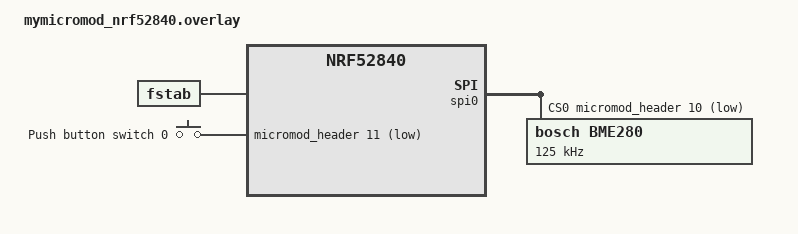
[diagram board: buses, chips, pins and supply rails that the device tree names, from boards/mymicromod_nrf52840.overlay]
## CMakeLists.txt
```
#-------------------------------------------------------------------------------
# Zephyr Example Application
#
# Copyright (c) 2021 Nordic Semiconductor ASA
# SPDX-License-Identifier: Apache-2.0

cmake_minimum_required(VERSION 3.13.1)
find_package(Zephyr REQUIRED HINTS $ENV{ZEPHYR_BASE})

project(app LANGUAGES C)

target_sources(app PRIVATE src/main.c)
target_sources(app PRIVATE src/measurement.c)
target_sources_ifdef(CONFIG_BT app PRIVATE src/dev_bt.c)
target_sources_ifdef(CONFIG_BT app PRIVATE src/dev_bt_service.c)
```

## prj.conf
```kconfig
# Copyright (c) 2021 Nordic Semiconductor ASA
# SPDX-License-Identifier: Apache-2.0
#
# This file contains selected Kconfig options for the application.
CONFIG_MAIN_STACK_SIZE=4096
CONFIG_SYSTEM_WORKQUEUE_STACK_SIZE=2048
CONFIG_BT_RX_STACK_SIZE=2048

CONFIG_SENSOR=y

#floating point logging
CONFIG_CBPRINTF_FP_SUPPORT=y

# enable BT
CONFIG_BT=y
CONFIG_BT_PERIPHERAL=y
CONFIG_BT_DEVICE_NAME="Env_Sensor"
CONFIG_BT_GATT_CLIENT=y
# Connection Parameter and Negotiations
CONFIG_BT_PERIPHERAL_PREF_MIN_INT=800
CONFIG_BT_PERIPHERAL_PREF_MAX_INT=800
CONFIG_BT_PERIPHERAL_PREF_LATENCY=0
CONFIG_BT_PERIPHERAL_PREF_TIMEOUT=400
CONFIG_BT_GAP_AUTO_UPDATE_CONN_PARAMS=y
#PHY CHannel
CONFIG_BT_USER_PHY_UPDATE=y
# Data Lenght and MTU
CONFIG_BT_USER_DATA_LEN_UPDATE=y
CONFIG_BT_CTLR_DATA_LENGTH_MAX=251
CONFIG_BT_BUF_ACL_RX_SIZE=251
CONFIG_BT_BUF_ACL_TX_SIZE=251
CONFIG_BT_L2CAP_TX_MTU=247
```

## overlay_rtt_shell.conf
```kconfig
# Enable SEGGER's Real Time Transfer (RTT)
CONFIG_USE_SEGGER_RTT=y

# Shell and Console
CONFIG_CONSOLE=y
CONFIG_RTT_CONSOLE=y
CONFIG_UART_CONSOLE=n
CONFIG_SHELL=y
CONFIG_SHELL_BACKEND_RTT=y
CONFIG_LOG_BACKEND_RTT=n
CONFIG_SHELL_TAB=y
CONFIG_SHELL_TAB_AUTOCOMPLETION=y

# System SHELLS
CONFIG_INIT_STACKS=y
CONFIG_THREAD_STACK_INFO=y
CONFIG_KERNEL_SHELL=y
CONFIG_THREAD_MONITOR=y
CONFIG_BOOT_BANNER=y
CONFIG_THREAD_NAME=y
CONFIG_DEVICE_SHELL=y
CONFIG_POSIX_CLOCK=y
CONFIG_DATE_SHELL=y
CONFIG_THREAD_RUNTIME_STATS=y
CONFIG_THREAD_RUNTIME_STATS_USE_TIMING_FUNCTIONS=y
CONFIG_STATS=y
CONFIG_STATS_SHELL=y

# logging
CONFIG_LOG=y
CONFIG_APP_LOG_LEVEL_DBG=y
CONFIG_CBPRINTF_FP_SUPPORT=y
```

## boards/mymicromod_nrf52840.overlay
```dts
#include <zephyr/dt-bindings/input/input-event-codes.h>

/ {
    fstab {
        compatible = "zephyr,fstab";
        lfs1: lfs1 {
            compatible = "zephyr,fstab,littlefs";
            mount-point = "/lfs1";
            partition = <&littlefs_partition>;
            automount;
            read-size = <16>;
            prog-size = <16>;
            cache-size = <64>;
            lookahead-size = <32>;
            block-cycles = <512>;
        };
    };

    // Use Boot button as a button
    buttons {
        compatible = "gpio-keys";
        button0: button_0 {
            gpios = <&micromod_header 11 GPIO_ACTIVE_LOW>;
            label = "Push button switch 0";
            zephyr,code = <INPUT_KEY_0>;
        };
    };

};


&w25q128jv {
    partitions {
        compatible = "fixed-partitions";
        #address-cells = <1>;
        #size-cells = <1>;

        littlefs_partition: partition@0 {
            label = "littlefs";
            reg = <0x00000000 DT_SIZE_M(16)>;
        };
    };
};

&spi0 {
    compatible = "nordic,nrf-spim";
    rx-delay-supported;
    rx-delay = <0x2>;
    status = "okay";
    cs-gpios = <&micromod_header 10 GPIO_ACTIVE_LOW>;

    bme280: bme280@0 {
        compatible = "bosch,bme280";
        reg = <0>;
        spi-max-frequency = <125000>;
    };
};
```

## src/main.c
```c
/*
 * Copyright (c) 2021 Nordic Semiconductor ASA
 * SPDX-License-Identifier: Apache-2.0
 */

#include <zephyr/kernel.h>
#include <zephyr/logging/log.h>

#include <app_version.h>
#include "measurement.h"
#include "dev_bt_service.h"

LOG_MODULE_REGISTER(main, CONFIG_APP_LOG_LEVEL);

extern int bt_space_init(void);

int main(void)
{
	printk("ESS App %s\n", APP_VERSION_STRING);

	bt_space_init(); // Initialize the Bluetooth

	sensor_data_t rcvd_sensor_data = {0};
	double pressure, temperature, humidity;

	while (1)
	{
		int ret = k_msgq_get(&sensor_message_queue, &rcvd_sensor_data, K_NO_WAIT);
		if (ret == 0)
		{

			temperature = sensor_value_to_double(&rcvd_sensor_data.temperature);
			pressure = sensor_value_to_double(&rcvd_sensor_data.pressure);
			humidity = sensor_value_to_double(&rcvd_sensor_data.humidity);

			LOG_INF("\t\t Sensor Data");
			LOG_INF("\tTemperature: \t %.2f C", temperature);
			LOG_INF("\tPressure:    \t %.2f kPa", pressure);
			LOG_INF("\tHumidity:    \t %.2f %%RH\n\n", humidity);

			// Notify Central
			ess_temp_notify((int16_t)(temperature * 100));	// 0.01C resolution
			ess_humd_notify((uint16_t)(humidity * 100));	// 0.01% RH resolution
			ess_press_notify((uint32_t)(pressure * 10000)); // 0.1Pa resolution, but already in kPa, so convert
		}

		k_sleep(K_MSEC(1000));
	}

	return 0;
}
```

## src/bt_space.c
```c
#include <zephyr/kernel.h>
#include <zephyr/logging/log.h>
#include <zephyr/bluetooth/bluetooth.h>
#include <zephyr/bluetooth/gap.h>
#include <zephyr/bluetooth/gatt.h>

LOG_MODULE_REGISTER(bt_space, CONFIG_APP_LOG_LEVEL);

#define DEVICE_NAME CONFIG_BT_DEVICE_NAME
#define DEVICE_NAME_LEN (sizeof(DEVICE_NAME) - 1)

/********************************Static Proto***********************************/
static void update_phy(struct bt_conn *conn);
static void update_data_length(struct bt_conn *conn);
static void exchange_func(struct bt_conn *conn, uint8_t att_err,
                          struct bt_gatt_exchange_params *params);
static void update_mtu(struct bt_conn *conn);
static void on_connected(struct bt_conn *conn, uint8_t err);
static void on_disconnected(struct bt_conn *conn, uint8_t reason);
static void on_le_param_updated(struct bt_conn *conn, uint16_t interval, uint16_t latency, uint16_t timeout);
static void on_le_phy_updated(struct bt_conn *conn, struct bt_conn_le_phy_info *param);
static void on_le_data_len_updated(struct bt_conn *conn, struct bt_conn_le_data_len_info *info);
/*******************************************************************/

bt_addr_le_t bt_dev_addr;
static struct bt_gatt_exchange_params exchange_params;
struct bt_conn *bt_dev_conn = NULL;

// Advertisment Data
static const struct bt_data ad[] = {
    BT_DATA_BYTES(BT_DATA_FLAGS, BT_LE_AD_GENERAL | BT_LE_AD_NO_BREDR),
    BT_DATA(BT_DATA_NAME_COMPLETE, DEVICE_NAME, DEVICE_NAME_LEN),
    BT_DATA_BYTES(BT_DATA_GAP_APPEARANCE, BT_APPEARANCE_SENSOR_TEMPERATURE & 0xff,
                  (BT_APPEARANCE_SENSOR_TEMPERATURE >> 8) & 0xff),
};

// Scan Request Response Data
static const struct bt_data sd[] = {
    BT_DATA_BYTES(BT_DATA_UUID16_ALL, BT_UUID_16_ENCODE(BT_UUID_ESS_VAL)), // Enivorment Sensing Service
};

// Advertisment Parameters
static const struct bt_le_adv_param *adv_param = BT_LE_ADV_PARAM(
    BT_LE_ADV_OPT_CONNECTABLE | BT_LE_ADV_OPT_USE_IDENTITY,
    BT_GAP_ADV_FAST_INT_MIN_1,
    BT_GAP_ADV_FAST_INT_MIN_1,
    NULL);

// Connection Handler
static struct bt_conn_cb dev_conn_callbacks = {
    .connected = on_connected,
    .disconnected = on_disconnected,
    .le_param_updated = on_le_param_updated,
    .le_phy_updated = on_le_phy_updated,
    .le_data_len_updated = on_le_data_len_updated,

};

int bt_space_init(void)
{
    int ret;

    ret = bt_addr_le_from_str("FF:EE:DD:CC:BB:AA", "random", &bt_dev_addr);
    if (ret)
    {
        LOG_ERR("Invalid BT address: %d", ret);
    }

    ret = bt_id_create(&bt_dev_addr, NULL);
    if (ret < 0)
    {
        LOG_ERR("Creating new ID failed: %d", ret);
    }

    ret = bt_conn_cb_register(&dev_conn_callbacks);
    if (ret)
    {
        LOG_ERR("Connection callback register failed: %d", ret);
    }

    // Enable BT Synchronously
    ret = bt_enable(NULL);
    if (ret)
    {
        LOG_ERR("Bluetooth Init Failed: %d", ret);
        return -1;
    }
    LOG_INF("Bluetooth Initialized\n");

    ret = bt_le_adv_start(adv_param, ad, ARRAY_SIZE(ad), sd, ARRAY_SIZE(sd));
    if (ret)
    {
        LOG_ERR("Advertising failed to start: %d\n", ret);
        return -1;
    }
    LOG_INF("Advertising successfully started");

    return ret;
}

static void update_phy(struct bt_conn *conn)
{
    int ret;
    const struct bt_conn_le_phy_param pref_phy = {
        .options = BT_CONN_LE_PHY_OPT_NONE,
        .pref_rx_phy = BT_GAP_LE_PHY_2M,
        .pref_tx_phy = BT_GAP_LE_PHY_2M,
    };

    ret = bt_conn_le_phy_update(conn, &pref_phy);
    if (ret)
    {
        LOG_ERR("Failed to change PHY: %d", ret);
    }
}

static void update_data_length(struct bt_conn *conn)
{
    int ret;
    struct bt_conn_le_data_len_param dev_data_len = {
        .tx_max_len = BT_GAP_DATA_LEN_MAX,
        .tx_max_time = BT_GAP_DATA_TIME_MAX,
    };
    ret = bt_conn_le_data_len_update(bt_dev_conn, &dev_data_len);
    if (ret)
    {
        LOG_ERR("data_len_update failed: %d", ret);
    }
}

static void exchange_func(struct bt_conn *conn, uint8_t att_err,
                          struct bt_gatt_exchange_params *params)
{
    LOG_INF("MTU exchange %s", att_err == 0 ? "successful" : "failed");
    if (!att_err)
    {
        uint16_t payload_mtu = bt_gatt_get_mtu(conn) - 3; // 3 bytes used for Attribute headers.
        LOG_INF("New MTU: %d bytes", payload_mtu);
    }
}

static void update_mtu(struct bt_conn *conn)
{
    int ret;
    exchange_params.func = exchange_func;

    ret = bt_gatt_exchange_mtu(conn, &exchange_params);
    if (ret)
    {
        LOG_ERR("bt_gatt_exchange_mtu failed: %d", ret);
    }
}

void on_le_param_updated(struct bt_conn *conn, uint16_t interval, uint16_t latency, uint16_t timeout)
{
    double connection_interval = interval * 1.25; // in ms
    uint16_t supervision_timeout = timeout * 10;  // in ms
    LOG_INF("Connection parameters updated: connection interval %.2f ms, latency %d intervals, timeout %d ms",
            connection_interval, latency, supervision_timeout);
}

void on_le_phy_updated(struct bt_conn *conn, struct bt_conn_le_phy_info *param)
{
    // PHY Updated
    if (param->tx_phy == BT_CONN_LE_TX_POWER_PHY_1M) {
        LOG_INF("PHY updated. New PHY: 1M");
    }
    else if (param->tx_phy == BT_CONN_LE_TX_POWER_PHY_2M) {
        LOG_INF("PHY updated. New PHY: 2M");
    }
    else if (param->tx_phy == BT_CONN_LE_TX_POWER_PHY_CODED_S8) {
        LOG_INF("PHY updated. New PHY: Long Range");
    }
}

void on_le_data_len_updated(struct bt_conn *conn, struct bt_conn_le_data_len_info *info)
{
    uint16_t tx_len     = info->tx_max_len; 
    uint16_t tx_time    = info->tx_max_time;
    uint16_t rx_len     = info->rx_max_len;
    uint16_t rx_time    = info->rx_max_time;
    LOG_INF("Data length updated. Length %d/%d bytes, time %d/%d us", tx_len, rx_len, tx_time, rx_time);
}

static void on_connected(struct bt_conn *conn, uint8_t err)
{
    if (err)
    {
        LOG_ERR("Connection error: %d", err);
        return;
    }
    LOG_INF("Connected");
    bt_dev_conn = bt_conn_ref(conn);

    // Get connection info
    struct bt_conn_info info;
    err = bt_conn_get_info(conn, &info);
    if (err)
    {
        LOG_ERR("Failed to get connx info: %d", err);
        return;
    }

    double connection_interval = info.le.interval * 1.25; // in ms
    uint16_t supervision_timeout = info.le.timeout * 10;  // in ms
    LOG_INF("Initial Connection parameters: interval %.2f ms, latency %d intervals, timeout %d ms",
            connection_interval, info.le.latency, supervision_timeout);
            
    update_phy(bt_dev_conn);
    update_data_length(bt_dev_conn);
    update_mtu(bt_dev_conn);
}

static void on_disconnected(struct bt_conn *conn, uint8_t reason)
{
    LOG_INF("Disconnected. Reason %d", reason);
    bt_conn_unref(bt_dev_conn);

}
```

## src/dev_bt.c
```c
#include <zephyr/kernel.h>
#include <zephyr/logging/log.h>
#include <zephyr/bluetooth/bluetooth.h>
#include <zephyr/bluetooth/gap.h>
#include <zephyr/bluetooth/gatt.h>

LOG_MODULE_REGISTER(dev_bt, CONFIG_APP_LOG_LEVEL);

#define DEVICE_NAME CONFIG_BT_DEVICE_NAME
#define DEVICE_NAME_LEN (sizeof(DEVICE_NAME) - 1)

/********************************Static Proto***********************************/
static void update_phy(struct bt_conn *conn);
static void update_data_length(struct bt_conn *conn);
static void exchange_func(struct bt_conn *conn, uint8_t att_err,
                          struct bt_gatt_exchange_params *params);
static void update_mtu(struct bt_conn *conn);
static void on_connected(struct bt_conn *conn, uint8_t err);
static void on_disconnected(struct bt_conn *conn, uint8_t reason);
static void on_le_param_updated(struct bt_conn *conn, uint16_t interval, uint16_t latency, uint16_t timeout);
static void on_le_phy_updated(struct bt_conn *conn, struct bt_conn_le_phy_info *param);
static void on_le_data_len_updated(struct bt_conn *conn, struct bt_conn_le_data_len_info *info);
/*******************************************************************/

bt_addr_le_t bt_dev_addr;
static struct bt_gatt_exchange_params exchange_params;
struct bt_conn *bt_dev_conn = NULL;

// Advertisment Data
static const struct bt_data ad[] = {
    BT_DATA_BYTES(BT_DATA_FLAGS, BT_LE_AD_GENERAL | BT_LE_AD_NO_BREDR),
    BT_DATA(BT_DATA_NAME_COMPLETE, DEVICE_NAME, DEVICE_NAME_LEN),
    BT_DATA_BYTES(BT_DATA_GAP_APPEARANCE, BT_APPEARANCE_SENSOR_TEMPERATURE & 0xff,
                  (BT_APPEARANCE_SENSOR_TEMPERATURE >> 8) & 0xff),
};

// Scan Request Response Data
static const struct bt_data sd[] = {
    BT_DATA_BYTES(BT_DATA_UUID16_ALL, BT_UUID_16_ENCODE(BT_UUID_ESS_VAL)), // Enivorment Sensing Service
};

// Advertisment Parameters
static const struct bt_le_adv_param *adv_param = BT_LE_ADV_PARAM(
    BT_LE_ADV_OPT_CONNECTABLE | BT_LE_ADV_OPT_USE_IDENTITY,
    BT_GAP_ADV_FAST_INT_MIN_1,
    BT_GAP_ADV_FAST_INT_MIN_1,
    NULL);

// Connection Handler
static struct bt_conn_cb dev_conn_callbacks = {
    .connected = on_connected,
    .disconnected = on_disconnected,
    .le_param_updated = on_le_param_updated,
    .le_phy_updated = on_le_phy_updated,
    .le_data_len_updated = on_le_data_len_updated,

};

int bt_space_init(void)
{
    int ret;

    ret = bt_addr_le_from_str("FF:EE:DD:CC:BB:AA", "random", &bt_dev_addr);
    if (ret)
    {
        LOG_ERR("Invalid BT address: %d", ret);
    }

    ret = bt_id_create(&bt_dev_addr, NULL);
    if (ret < 0)
    {
        LOG_ERR("Creating new ID failed: %d", ret);
    }

    ret = bt_conn_cb_register(&dev_conn_callbacks);
    if (ret)
    {
        LOG_ERR("Connection callback register failed: %d", ret);
    }

    // Enable BT Synchronously
    ret = bt_enable(NULL);
    if (ret)
    {
        LOG_ERR("Bluetooth Init Failed: %d", ret);
        return -1;
    }
    LOG_INF("Bluetooth Initialized\n");

    ret = bt_le_adv_start(adv_param, ad, ARRAY_SIZE(ad), sd, ARRAY_SIZE(sd));
    if (ret)
    {
        LOG_ERR("Advertising failed to start: %d\n", ret);
        return -1;
    }
    LOG_INF("Advertising successfully started");

    return ret;
}

static void update_phy(struct bt_conn *conn)
{
    int ret;
    const struct bt_conn_le_phy_param pref_phy = {
        .options = BT_CONN_LE_PHY_OPT_NONE,
        .pref_rx_phy = BT_GAP_LE_PHY_2M,
        .pref_tx_phy = BT_GAP_LE_PHY_2M,
    };

    ret = bt_conn_le_phy_update(conn, &pref_phy);
    if (ret)
    {
        LOG_ERR("Failed to change PHY: %d", ret);
    }
}

static void update_data_length(struct bt_conn *conn)
{
    int ret;
    struct bt_conn_le_data_len_param dev_data_len = {
        .tx_max_len = BT_GAP_DATA_LEN_MAX,
        .tx_max_time = BT_GAP_DATA_TIME_MAX,
    };
    ret = bt_conn_le_data_len_update(bt_dev_conn, &dev_data_len);
    if (ret)
    {
        LOG_ERR("data_len_update failed: %d", ret);
    }
}

static void exchange_func(struct bt_conn *conn, uint8_t att_err,
                          struct bt_gatt_exchange_params *params)
{
    LOG_INF("MTU exchange %s", att_err == 0 ? "successful" : "failed");
    if (!att_err)
    {
        uint16_t payload_mtu = bt_gatt_get_mtu(conn) - 3; // 3 bytes used for Attribute headers.
        LOG_INF("New MTU: %d bytes", payload_mtu);
    }
}

static void update_mtu(struct bt_conn *conn)
{
    int ret;
    exchange_params.func = exchange_func;

    ret = bt_gatt_exchange_mtu(conn, &exchange_params);
    if (ret)
    {
        LOG_ERR("bt_gatt_exchange_mtu failed: %d", ret);
    }
}

static void on_le_param_updated(struct bt_conn *conn, uint16_t interval, uint16_t latency, uint16_t timeout)
{
    double connection_interval = interval * 1.25; // in ms
    uint16_t supervision_timeout = timeout * 10;  // in ms
    LOG_INF("Connection parameters updated: connection interval %.2f ms, latency %d intervals, timeout %d ms",
            connection_interval, latency, supervision_timeout);
}

static void on_le_phy_updated(struct bt_conn *conn, struct bt_conn_le_phy_info *param)
{
    // PHY Updated
    if (param->tx_phy == BT_CONN_LE_TX_POWER_PHY_1M) {
        LOG_INF("PHY updated. New PHY: 1M");
    }
    else if (param->tx_phy == BT_CONN_LE_TX_POWER_PHY_2M) {
        LOG_INF("PHY updated. New PHY: 2M");
    }
    else if (param->tx_phy == BT_CONN_LE_TX_POWER_PHY_CODED_S8) {
        LOG_INF("PHY updated. New PHY: Long Range");
    }
}

static void on_le_data_len_updated(struct bt_conn *conn, struct bt_conn_le_data_len_info *info)
{
    uint16_t tx_len     = info->tx_max_len; 
    uint16_t tx_time    = info->tx_max_time;
    uint16_t rx_len     = info->rx_max_len;
    uint16_t rx_time    = info->rx_max_time;
    LOG_INF("Data length updated. Length %d/%d bytes, time %d/%d us", tx_len, rx_len, tx_time, rx_time);
}

static void on_connected(struct bt_conn *conn, uint8_t err)
{
    if (err)
    {
        LOG_ERR("Connection error: %d", err);
        return;
    }
    LOG_INF("Connected");
    bt_dev_conn = bt_conn_ref(conn);

    // Get connection info
    struct bt_conn_info info;
    err = bt_conn_get_info(conn, &info);
    if (err)
    {
        LOG_ERR("Failed to get connx info: %d", err);
        return;
    }

    double connection_interval = info.le.interval * 1.25; // in ms
    uint16_t supervision_timeout = info.le.timeout * 10;  // in ms
    LOG_INF("Initial Connection parameters: interval %.2f ms, latency %d intervals, timeout %d ms",
            connection_interval, info.le.latency, supervision_timeout);
            
    update_phy(bt_dev_conn);
    update_data_length(bt_dev_conn);
    update_mtu(bt_dev_conn);
}

static void on_disconnected(struct bt_conn *conn, uint8_t reason)
{
    LOG_INF("Disconnected. Reason %d", reason);
    bt_conn_unref(bt_dev_conn);

}
```

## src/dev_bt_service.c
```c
#include <zephyr/types.h>
#include <stddef.h>
#include <string.h>
#include <errno.h>
#include <zephyr/sys/printk.h>
#include <zephyr/sys/byteorder.h>
#include <zephyr/kernel.h>
#include <zephyr/bluetooth/bluetooth.h>
#include <zephyr/bluetooth/hci.h>
#include <zephyr/bluetooth/conn.h>
#include <zephyr/bluetooth/uuid.h>
#include <zephyr/bluetooth/gatt.h>
#include <zephyr/logging/log.h>

#include "dev_bt_service.h"

LOG_MODULE_REGISTER(dev_bt_service, CONFIG_APP_LOG_LEVEL);

/********************************Static Proto***********************************/
static void ess_ccc_temp_cfg_changed(const struct bt_gatt_attr *attr, uint16_t value);
static void ess_ccc_press_cfg_changed(const struct bt_gatt_attr *attr, uint16_t value);
static void ess_ccc_humd_cfg_changed(const struct bt_gatt_attr *attr, uint16_t value);
/********************Static Declaration****************************************/
static bool notify_temp_en;
static bool notify_press_en;
static bool notify_humd_en;

/* Declare Service*/
BT_GATT_SERVICE_DEFINE(
    ess_svc,
    BT_GATT_PRIMARY_SERVICE(BT_UUID_ESS),

    // Temperature
    BT_GATT_CHARACTERISTIC(BT_UUID_TEMPERATURE, BT_GATT_CHRC_NOTIFY, BT_GATT_PERM_NONE,
                           NULL, NULL, NULL),

    BT_GATT_CCC(ess_ccc_temp_cfg_changed,
                BT_GATT_PERM_READ | BT_GATT_PERM_WRITE),

    // Humidity
    BT_GATT_CHARACTERISTIC(BT_UUID_HUMIDITY, BT_GATT_CHRC_NOTIFY, BT_GATT_PERM_NONE,
                           NULL, NULL, NULL),

    BT_GATT_CCC(ess_ccc_humd_cfg_changed,
                BT_GATT_PERM_READ | BT_GATT_PERM_WRITE),

    // Pressure
    BT_GATT_CHARACTERISTIC(BT_UUID_PRESSURE, BT_GATT_CHRC_NOTIFY, BT_GATT_PERM_NONE,
                           NULL, NULL, NULL),

    BT_GATT_CCC(ess_ccc_press_cfg_changed,
                BT_GATT_PERM_READ | BT_GATT_PERM_WRITE),

);

static void ess_ccc_temp_cfg_changed(const struct bt_gatt_attr *attr,
                                     uint16_t value)
{
    notify_temp_en = (value == BT_GATT_CCC_NOTIFY);
}

static void ess_ccc_press_cfg_changed(const struct bt_gatt_attr *attr,
                                      uint16_t value)
{
    notify_press_en = (value == BT_GATT_CCC_NOTIFY);
}

static void ess_ccc_humd_cfg_changed(const struct bt_gatt_attr *attr,
                                     uint16_t value)
{
    notify_humd_en = (value == BT_GATT_CCC_NOTIFY);
}


int ess_temp_notify(int16_t temp_value) 
{
    if(!notify_temp_en)
    {
        return -EACCES;
    }

    uint8_t buffer[2];
    sys_put_le16(temp_value, buffer);
    return bt_gatt_notify(NULL, &ess_svc.attrs[2], &buffer, sizeof(buffer));
}

int ess_humd_notify(uint16_t humd_value) {

    if(!notify_humd_en)
    {
        return -EACCES;
    }

    uint8_t buffer[2];
    sys_put_le16(humd_value, buffer);
    return bt_gatt_notify(NULL, &ess_svc.attrs[5], &buffer, sizeof(buffer));
}

int ess_press_notify(uint32_t press_value) {

    if(!notify_press_en)
    {
        return -EACCES;
    }
    
    uint8_t buffer[4];
    sys_put_le32(press_value, buffer);
    return bt_gatt_notify(NULL, &ess_svc.attrs[8], &buffer, sizeof(buffer));
}
```

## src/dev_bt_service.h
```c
#ifndef _DEV_BT_SERVICE_H_
#define _DEV_BT_SERVICE_H_

#ifdef __cplusplus
extern "C"
{
#endif

#include <zephyr/types.h>

/**
 * @brief Notify connected Central/Remote Device with Temperature
 *
 * @param temp_value temperature value of the sensor
 *
 * @retval 0 if successful otherwise < 0
 */
int ess_temp_notify(int16_t temp_value);

/**
 * @brief Notify connected Central/Remote Device with Humidity
 *
 * @param humd_value humidity value of the sensor
 *
 * @retval 0 if successful otherwise < 0
 */
int ess_humd_notify(uint16_t humd_value);

/**
 * @brief Notify connected Central/Remote Device with Pressure
 *
 * @param press_value pressure value of the sensor
 *
 * @retval 0 if successful otherwise < 0
 */
int ess_press_notify(uint32_t press_value);

#ifdef __cplusplus
}
#endif

#endif
```

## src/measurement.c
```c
#include <zephyr/kernel.h>
#include <zephyr/logging/log.h>
#include <zephyr/device.h>
#include <zephyr/devicetree.h>

#include "measurement.h"

#define PRODUCER_THREAD_PRIORITY 6
#define PRODUCER_SLEEP_TIME_MS 10000
#define STACKSIZE 1024

LOG_MODULE_REGISTER(measurement, CONFIG_APP_LOG_LEVEL);

K_MSGQ_DEFINE(sensor_message_queue, sizeof(sensor_data_t), 10, 4);


static void measurement_thread_handler(void *data1, void *data2, void *data3)
{
    ARG_UNUSED(data1);
    ARG_UNUSED(data2);
    ARG_UNUSED(data3);

    int ret;
    const struct device *dev = DEVICE_DT_GET(DT_NODELABEL(bme280));
    sensor_data_t sensor_data = {0};

    ret = device_is_ready(dev);
    if (!ret)
    {
        LOG_INF("Error: SPI device is not ready, ret: %d", ret);
        return;
    }

    while (1)
    {
        ret = sensor_sample_fetch(dev);
        if (ret < 0)
        {
            LOG_ERR("Could not fetch sample (%d)", ret);
        }

        if (sensor_channel_get(dev, SENSOR_CHAN_AMBIENT_TEMP, &sensor_data.temperature))
        {
            LOG_ERR("Could not get temperature sample");
        }

        if (sensor_channel_get(dev, SENSOR_CHAN_PRESS, &sensor_data.pressure))
        {
            LOG_ERR("Could not get pressure sample");
        }

        if (sensor_channel_get(dev, SENSOR_CHAN_HUMIDITY, &sensor_data.humidity))
        {
            LOG_ERR("Could not get humidity sample");
        }

        // /*push data to queue*/
        ret = k_msgq_put(&sensor_message_queue, &sensor_data, K_NO_WAIT);
        if (ret < 0)
            LOG_ERR("Error placing data in Message Queue: %d", ret);

        k_sleep(K_MSEC(PRODUCER_SLEEP_TIME_MS));
    }
}

K_THREAD_DEFINE(sensor_measure, STACKSIZE, measurement_thread_handler, NULL, NULL, NULL, PRODUCER_THREAD_PRIORITY, 0,
                0);
```

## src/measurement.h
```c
#ifndef _MEASUREMENT_H_
#define _MEASUREMENT_H_

#include <zephyr/drivers/sensor.h>

typedef struct
{
    struct sensor_value temperature;
    struct sensor_value pressure;
    struct sensor_value humidity;
} sensor_data_t;

extern struct k_msgq sensor_message_queue;

#endif /*_MEASUREMENT_H_*/
```
